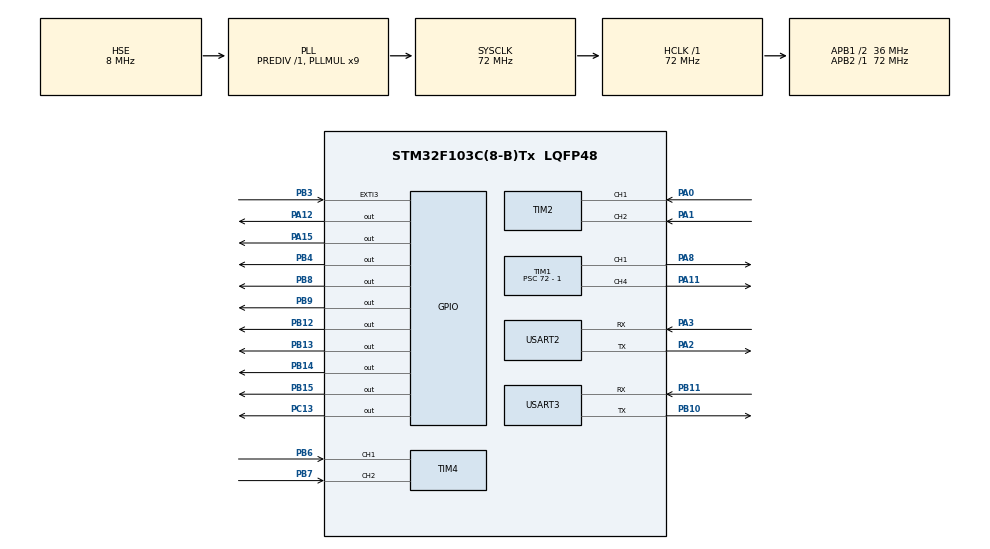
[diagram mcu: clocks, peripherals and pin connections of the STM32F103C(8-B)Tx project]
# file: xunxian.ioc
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Mcu.Family=STM32F1
Mcu.Name=STM32F103C(8-B)Tx
Mcu.Package=LQFP48
NVIC.EXTI3_IRQn=true\:0\:0\:false\:false\:true\:true\:true\:true
NVIC.PriorityGroup=NVIC_PRIORITYGROUP_4
NVIC.TIM3_IRQn=true\:0\:0\:false\:false\:true\:true\:true\:true
NVIC.USART2_IRQn=true\:0\:0\:false\:false\:true\:true\:true\:true
NVIC.USART3_IRQn=true\:0\:0\:false\:false\:true\:true\:true\:true
PA0-WKUP.Signal=S_TIM2_CH1_ETR
PA1.Signal=S_TIM2_CH2
PA11.Signal=S_TIM1_CH4
PA12.Signal=GPIO_Output
PA13.Mode=Serial_Wire
PA13.Signal=SYS_JTMS-SWDIO
PA14.Mode=Serial_Wire
PA14.Signal=SYS_JTCK-SWCLK
PA15.PinState=GPIO_PIN_SET
PA15.Signal=GPIO_Output
PA2.Mode=Asynchronous
PA2.Signal=USART2_TX
PA3.Mode=Asynchronous
PA3.Signal=USART2_RX
PA8.Signal=S_TIM1_CH1
PB10.Mode=Asynchronous
PB10.Signal=USART3_TX
PB11.Mode=Asynchronous
PB11.Signal=USART3_RX
PB12.Signal=GPIO_Output
PB13.Signal=GPIO_Output
PB14.Signal=GPIO_Output
PB15.Signal=GPIO_Output
PB3.GPIO_ModeDefaultEXTI=GPIO_MODE_IT_RISING_FALLING
PB3.Signal=GPXTI3
PB4.Signal=GPIO_Output
PB6.Signal=S_TIM4_CH1
PB7.Signal=S_TIM4_CH2
PB8.Signal=GPIO_Output
PB9.Signal=GPIO_Output
PC13-TAMPER-RTC.Signal=GPIO_Output
PD0-OSC_IN.Mode=HSE-External-Oscillator
PD0-OSC_IN.Signal=RCC_OSC_IN
PD1-OSC_OUT.Mode=HSE-External-Oscillator
PD1-OSC_OUT.Signal=RCC_OSC_OUT
ProjectManager.HeapSize=0x200
ProjectManager.StackSize=0x400
ProjectManager.TargetToolchain=MDK-ARM V5.32
RCC.AHBFreq_Value=72000000
RCC.APB1CLKDivider=RCC_HCLK_DIV2
RCC.APB1Freq_Value=36000000
RCC.APB1TimFreq_Value=72000000
RCC.APB2Freq_Value=72000000
RCC.APB2TimFreq_Value=72000000
RCC.HCLKFreq_Value=72000000
RCC.PLLMUL=RCC_PLL_MUL9
RCC.PLLSourceVirtual=RCC_PLLSOURCE_HSE
RCC.SYSCLKFreq_VALUE=72000000
RCC.SYSCLKSource=RCC_SYSCLKSOURCE_PLLCLK
RCC.USBFreq_Value=72000000
SH.S_TIM1_CH1.0=TIM1_CH1,PWM Generation1 CH1
SH.S_TIM1_CH4.0=TIM1_CH4,PWM Generation4 CH4
SH.S_TIM2_CH1_ETR.0=TIM2_CH1,Encoder_Interface
SH.S_TIM2_CH2.0=TIM2_CH2,Encoder_Interface
SH.S_TIM4_CH1.0=TIM4_CH1,Encoder_Interface
SH.S_TIM4_CH2.0=TIM4_CH2,Encoder_Interface
TIM1.AutoReloadPreload=TIM_AUTORELOAD_PRELOAD_ENABLE
TIM1.Channel-PWM\ Generation1\ CH1=TIM_CHANNEL_1
TIM1.Channel-PWM\ Generation4\ CH4=TIM_CHANNEL_4
TIM1.Period=100 - 1
TIM1.Prescaler=72 - 1
TIM3.AutoReloadPreload=TIM_AUTORELOAD_PRELOAD_ENABLE
TIM3.Period=1000 -1 
TIM3.Prescaler=72- 1
USART2.VirtualMode=VM_ASYNC
USART3.VirtualMode=VM_ASYNC
VP_TIM3_VS_ClockSourceINT.Mode=Internal
board=custom

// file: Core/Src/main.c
/* USER CODE BEGIN Header */
/**
 ******************************************************************************
 * @file           : main.c
 * @brief          : Main program body
 ******************************************************************************
 * @attention
 *
 * Copyright (c) 2026 STMicroelectronics.
 * All rights reserved.
 *
 * This software is licensed under terms that can be found in the LICENSE file
 * in the root directory of this software component.
 * If no LICENSE file comes with this software, it is provided AS-IS.
 *
 ******************************************************************************
 */
/* USER CODE END Header */
#include "main.h"
#include "tim.h"
#include "usart.h"
#include "gpio.h"

/* USER CODE BEGIN Includes */
#include "hfile.h"

#define PID_P 500
#define PID_I 15
#define PID_D 0

#define ANGLE_P 50 // 角度环参数，这些要你自己调
#define ANGLE_I 0   // 角度环很多时候用不到 I，可设为 0
#define ANGLE_D 0

#define Speed_Straight 15 // 目标速度，单位为编码器计数每周期
#define Speed_Diff 10     // 转向时左右轮速度差值
#define Speed_Diff_l 5

#define AV_P 30 // 角度环参数，这些要你自己调
#define AV_I 0   // 角度环很多时候用不到 I，可设为 0
#define AV_D 10

/* USER CODE END Includes */

/* USER CODE BEGIN PV */
PID_t pid_r, pid_l, pid_angle,pid_av;
volatile uint8_t pit_pid_flag = 0; // 【优化1】增加 volatile
int encoder_data_left = 0;
int encoder_data_right = 0;
int pwm_right = 0;
int pwm_left = 0;
uint8_t sensor_data[8];
uint8_t zhuanxiang_flag = 0;
volatile uint32_t delay = 0;         // 【优化1】增加 volatile
volatile uint16_t turn_cooldown = 0; // 【优化3】新增转向冷却倒计时
uint8_t xunxian_state = 0;
uint8_t xunxian_flag = 1;
uint8_t bizhang_is=0;
volatile uint32_t delay_buzz = 0;
int angle = 0;
int target_angle = 0;
uint8_t angle_flag = 0;
uint8_t delay_flag = 1;
uint8_t global_turn_dir = 0;           // 【新增】全局转向锁定：0未决定，1锁定左转，2锁定右转
extern volatile uint32_t tim3_ms_tick; // 【新增】声明 xunxian.c 里的时间戳变量
uint32_t distance = 0;
volatile uint32_t delay_distance = 0;
uint8_t distance_count = 0;
uint8_t bizhang_flag = 0;
volatile uint32_t delay_bizhang = 0;
volatile uint32_t delay_light = 0;
uint8_t distance_flag = 1;
uint8_t sudu_flag = 1;
uint8_t falg_bizhang = 1;
uint8_t falg_buzz = 1;
volatile uint32_t f_ms_tick;
uint8_t falg;
/* USER CODE END PV */

void SystemClock_Config(void);

/* USER CODE BEGIN 0 */
#define TRUN_SPEED 0
void Ctrl_SAT(int v, int a, uint32_t time, uint8_t stop_on_line)
{
  PID_Init(&pid_av, AV_P, AV_I, AV_D);
  pid_av.target_val = a;

  // 清除左右轮PID的积分误差，重新初始化
  PID_Init(&pid_r, PID_P, PID_I, PID_D);
  PID_Init(&pid_l, PID_P, PID_I, PID_D);
  pid_l.target_val = v;
  pid_r.target_val = v;

  get_encoder_count_right(&encoder_data_right);
  get_encoder_count_left(&encoder_data_left);
  uint32_t ms_ = tim3_ms_tick;
  pit_pid_flag = 0; // 同步定时器节拍

  for (;;)
  {
    if (yawReady)
    {
      yawReady = 0;
      angle = currentYaw;
    }

    // 如果启用了寻线停止功能，在死循环中也需要解析串口数据
    if (stop_on_line)
    {
      Parse_Track_Data(Rx_Buffer, sensor_data);
      uint8_t state = xunxian_scan(sensor_data);
      // 当检测到并非全白(丢线)且并非全黑时，说明压到线了，立即跳出
      if (state != 6 && state != 0) // zhuangxiang = 6
      {
        Motor_Stop();
        falg_bizhang = 0;
        return;
      }
    }

    // 必须等待定时器中断标志位，才能保证速度PID结算周期正确
    if (pit_pid_flag)
    {
      pit_pid_flag = 0;
      get_encoder_count_right(&encoder_data_right);
      get_encoder_count_left(&encoder_data_left);

      // 【核心修复】：分离速度环与角度环的耦合，消除二次转向抽搐现象。
      // 计算底盘两侧轮子的“平均重心速度”，代表车辆实际的前进分量
      int avg_speed = (encoder_data_right + encoder_data_left) / 2;

      // 使用 pid_l 作为整个底盘统一的“基准推力”速度环，算出一个统一的基础 PWM
      int pwm_base = PID_Speed(&pid_l, avg_speed);

      int diff = PID_Angle(&pid_av, angle);

      // 如果是原地转向（基础目标速度为0），对角度环产生的差速输出进行限幅，避免转得太猛
      if (v == 0)
      {
        int max_diff = 30; // 你可以在这里调节原地转身的限幅大小，越小转得越慢越柔和
        if (diff > max_diff) diff = max_diff;
        if (diff < -max_diff) diff = -max_diff;
      }

      // 左右轮的瞬时输出绝对保持一致基础（避免了分别测算引发的瞬时受力不均），再叠加用于方向管控的 diff 差值
      pwm_right = pwm_base + diff;
      pwm_left = pwm_base - diff;

      Motor_Right_Run(pwm_right);
      Motor_Left_Run(pwm_left);

      OLED_Printf(0, 8, OLED_6X8, "pwm_R:%d L:%d    ", pwm_right, pwm_left);
      OLED_Printf(0, 16, OLED_6X8, "diff: %d    ", angle);
      OLED_Update();
    }

    if (time > 0 && (tim3_ms_tick - ms_ >= time))
    {
        Motor_Stop();
        falg_bizhang = 0;
        return;
    }
    else
    {
      falg_bizhang = 1;
    }
  }
}
/* USER CODE END 0 */

int main(void)
{

  /* MCU Configuration--------------------------------------------------------*/

  /* Reset of all peripherals, Initializes the Flash interface and the Systick. */
  HAL_Init();

  /* Configure the system clock */
  SystemClock_Config();

  /* Initialize all configured peripherals */
  MX_GPIO_Init();
  MX_TIM1_Init();
  MX_TIM2_Init();
  MX_TIM4_Init();
  MX_TIM3_Init();
  MX_USART2_UART_Init();
  MX_USART3_UART_Init();
  /* USER CODE BEGIN 2 */
  Motor_Init();
  OLED_Init();
  PID_Init(&pid_r, PID_P, PID_I, PID_D);
  PID_Init(&pid_l, PID_P, PID_I, PID_D);
  PID_Init(&pid_angle, ANGLE_P, ANGLE_I, ANGLE_D);
  HAL_TIM_Base_Start_IT(&htim3);
  pid_l.target_val = Speed_Straight;
  pid_r.target_val = Speed_Straight;
  HAL_TIM_Encoder_Start(&htim2, TIM_CHANNEL_ALL);
  HAL_TIM_Encoder_Start(&htim4, TIM_CHANNEL_ALL);
  HAL_UART_Receive_IT(&huart2, &Rx_Byte, 1);
  HAL_UART_Receive_IT(&huart3, &rxByte, 1);
  char start_cmd[] = "$0,0,1#";
  HAL_UART_Transmit(&huart2, (uint8_t *)start_cmd, strlen(start_cmd), 100);

  /* USER CODE END 2 */

  /* Infinite loop */
  /* USER CODE BEGIN WHILE */

  while (1)
  {

    // 1. 最高频执行：解析数据和状态
    Parse_Track_Data(Rx_Buffer, sensor_data);
    xunxian_state = xunxian_scan(sensor_data);

    if (zhuanxiang_flag != 0) // 仅在转弯时调用 Led_Show
    {
      if (delay_light >= 100)
      {
        Led_Show();
        delay_light = 0;
      }
    }
    else
    {
      // 退出转弯时，重置灯光延时，并保证灯光熄灭
      HAL_GPIO_WritePin(GPIOC, GPIO_PIN_13, GPIO_PIN_SET); // 熄灭 LED (PC13 一般高电平熄灭)
      delay_light = 0;
    }

    // 超声波测量周期必须大于 60ms (避免声波重叠及模块死机)
    if (delay_distance > 60)
    {
      HCSR04_Trigger();                // 发射超声波脉冲
      distance = HCSR04_GetDistance(); // 获取上一次测量的结果
      delay_distance = 0;              // 重置计数器
    }

    OLED_Printf(0, 0, OLED_6X8, "R:%d L:%d", encoder_data_right, encoder_data_left);
    OLED_Printf(0, 8, OLED_6X8, "pwm_R:%d L:%d    ", pwm_right, pwm_left);
    OLED_Printf(0, 16, OLED_6X8, "Sen: %d %d %d %d %d %d %d %d", sensor_data[0], sensor_data[1], sensor_data[2], sensor_data[3], sensor_data[4], sensor_data[5], sensor_data[6], sensor_data[7]);
    OLED_Printf(0, 24, OLED_6X8, "Dist: %d cm   ", distance);
    OLED_Printf(0, 32, OLED_6X8, "flag:%d    ", zhuanxiang_flag);
    OLED_Printf(0, 48, OLED_6X8, "state:%d    ", xunxian_state);
    OLED_Printf(0, 40, OLED_6X8, "Yaw: %d deg   ", angle);
    OLED_Update();

    if (yawReady)
    {
      yawReady = 0;
      angle = currentYaw;
    }

    // 注意将 uint32_t 转换为有符号整型检查，因为 HCSR04 可能会返回 -1 或 -2
    int32_t current_dist = (int32_t)distance;

    if (current_dist >= 0 && current_dist < 30)
    {
      if (distance_count < 200) distance_count++; // 增加上限防止 uint8_t 溢出

      if (distance_count >= 10)
      {
        if (bizhang_flag != 1) // 确保已经处于避障停车状态时，不再反复重置计时器
        {
          Motor_Stop();
          // 停车：速度目标清零，防止最下面的 PID 计算重新把车跑起来
          xunxian_flag = 0;
          bizhang_flag = 1;  // 首先进入阶段1：等待 15 秒
          distance_flag = 0; // 禁用距离检测新触发
          // 记录遇到障碍物【停车瞬间】的原始角度作为基准
          pid_angle.target_val = angle;

          // 重置蜂鸣器和避障计时以便响5秒
          delay_buzz = 0;
          delay_bizhang = 0;
        }
      }
    }
    else
    {
      distance_count = 0;
    }

    if (bizhang_flag == 1)
    {
      // 蜂鸣器非阻塞响5秒
      if (delay_buzz < 5000)
      {
				 falg = 1;
        HAL_GPIO_WritePin(GPIOA, GPIO_PIN_12, GPIO_PIN_RESET); // 蜂鸣器响 (假设低电平有效)15
      }
      else
      {
				falg = 2;
        HAL_GPIO_WritePin(GPIOA, GPIO_PIN_12, GPIO_PIN_SET);   // 蜂鸣器停止
      }

      if(delay_bizhang >= 15000)
      {
        bizhang_flag = 2;
        distance_count = 0;
        int f_a = angle;

        // 根据经过直角的次数（angle_flag）和顺时针/逆时针方向，来计算当前赛道的理论绝对平行角度
        int parallel_angle = 0;
        if (global_turn_dir == 2) // 锁定为右转赛道
        {
            switch(angle_flag) {
                case 0: parallel_angle = 0; break;
                case 1: parallel_angle = -90; break;
                case 2: parallel_angle = -180; break;
                case 3: parallel_angle = 90; break;
                default: parallel_angle = f_a; break;
            }

            // 右转赛道的避障动作：向左绕开
            // 1. 原地右转出弯角度（向右绕开）
            Ctrl_SAT(0, f_a - 90, 1500, 0);
            // 2. 调用速度环走直线（保持转出的角度，耗时2秒）
            Ctrl_SAT(5, f_a - 90, 2000, 0);
            // 3. 原地旋转回到平行于下个赛段黑线的绝对角度
            Ctrl_SAT(0, parallel_angle, 1500, 0);
            // 4. 直行直到传感器碰到黑线
            Ctrl_SAT(5, parallel_angle, 0, 1);
            // 新增：寻到黑线后往前开0.5秒
            Ctrl_SAT(5, parallel_angle, 700, 0);
            // 5. 碰到黑线后，调用角度环原地右转90度，正对新的寻线方向
            Ctrl_SAT(0, parallel_angle - 90, 1500, 0);

            // 【同步更新】：强制跳过了一个右直角
            global_turn_dir = 2; // 确保锁定右转
            angle_flag++;
        }
        else // global_turn_dir == 1 或 0 (默认左转赛道)
        {
            switch(angle_flag) {
                case 0: parallel_angle = 0; break;
                case 1: parallel_angle = 90; break;
                case 2: parallel_angle = -180; break;
                case 3: parallel_angle = -90; break;
                default: parallel_angle = f_a; break;
            }

            // 左转赛道的避障动作：向右绕开
            // 1. 原地右转出弯角度（基于当前实际车头 f_a 转 90 度以脱开障碍物）
            Ctrl_SAT(0, f_a - 90, 1500, 0);
            // 2. 调用速度环走直线（速度5，保持转出的角度，耗时2秒）
            Ctrl_SAT(5, f_a - 90, 2000, 0);
            // 3. 原地旋转回到平行于黑线的绝对角度
            Ctrl_SAT(0, parallel_angle, 1500, 0);
            // 4. 不要预备切线，直接保持理论平行的方向直行，直到传感器碰到黑线
            Ctrl_SAT(5, parallel_angle, 0, 1);
            // 新增：寻到黑线后往前开0.5秒
            Ctrl_SAT(5, parallel_angle, 500, 0);
            // 5. 碰到黑线后，调用角度环原地左转90度，正对新的寻线方向，耗时1.5秒
            Ctrl_SAT(0, parallel_angle + 90, 1500, 0);

            // 【同步更新】：强制跳过了一个左直角
            global_turn_dir = 1; // 确保锁定左转
            angle_flag++;
        }

        falg_bizhang = 1;
        xunxian_flag = 1;
        delay_bizhang = 0;
      }
      else
      {
        if (current_dist > 50)
        {
          delay_bizhang=0;
          bizhang_flag = 0;
          xunxian_flag = 1;
          distance_count = 0;
        }
      }
    }
    // 2. 寻线状态机
    if (xunxian_flag)
    {
      switch (xunxian_state)
      {
      case little_r: // 微微偏右
      {
        pid_l.target_val = Speed_Straight + Speed_Diff_l;
        pid_r.target_val = Speed_Straight - Speed_Diff_l;
        break;
      }
      case little_l: // 微微偏左
      {
        pid_l.target_val = Speed_Straight - Speed_Diff_l;
        pid_r.target_val = Speed_Straight + Speed_Diff_l;
        break;
      }
      case straight: // 直行
      {
        pid_l.target_val = Speed_Straight;
        pid_r.target_val = Speed_Straight;
        break;
      }
      case left: // 左转
      {
        // 【新增策略】如果全局已经锁定为右转，说明这是右转过冲导致的假信号，降级为普通微调
        if (global_turn_dir == 2)
        {
          pid_l.target_val = Speed_Straight - Speed_Diff_l;
          pid_r.target_val = Speed_Straight + Speed_Diff_l;
          break;
        }

        // 【优化3】冷却期内拦截
        if (turn_cooldown > 0)
        {
          pid_l.target_val = Speed_Straight - Speed_Diff_l;
          pid_r.target_val = Speed_Straight + Speed_Diff_l;
          break;
        }

        // 【新增策略】第一次遇到真正的左转，全局锁定
        if (global_turn_dir == 0)
        {
          global_turn_dir = 1;
        }

        delay = 0;
        zhuanxiang_flag = 1;
        angle_flag++;
        switch (angle_flag)
        {
        case 1:
          target_angle = 55;
          break;
        case 2:
          target_angle = 150;
          break;
        case 3:
          target_angle = -110;
          break;
        case 4:
          target_angle = -70;
          break;
        default:
          break;
        }
        break;
      }
      case right: // 右转
      {
        // 【新增策略】如果全局已经锁定为左转，说明这是左转过冲导致的假信号，降级为普通微调
        if (global_turn_dir == 1)
        {
          pid_l.target_val = Speed_Straight + Speed_Diff_l;
          pid_r.target_val = Speed_Straight - Speed_Diff_l;
          break;
        }

        // 【优化3】冷却期内拦截
        if (turn_cooldown > 0)
        {
          pid_l.target_val = Speed_Straight + Speed_Diff_l;
          pid_r.target_val = Speed_Straight - Speed_Diff_l;
          break;
        }

        // 【新增策略】第一次遇到真正的右转，全局锁定
        if (global_turn_dir == 0)
        {
          global_turn_dir = 2;
        }

        delay = 0;
        zhuanxiang_flag = 2;
        angle_flag++;
        switch (angle_flag)
        {
        case 1:
          target_angle = -55;
          break;
        case 2:
          target_angle = -150;
          break;
        case 3:
          target_angle = 110;
          break;
        case 4:
          target_angle = 150;
          break;
        default:
          break;
        }
        break;
      }
      default:
        break;
      }
    }

    // 3. 转向状态机
    if (zhuanxiang_flag == 1) // 左转
    {
      if (delay <= 2000)
      {
        Motor_Stop();
        xunxian_flag = 0;
        delay_flag = 0;
      }
      else
      {
        delay_flag = 1;

        // 计算当前角度到目标角度的“剩余航向角”
        // 这个公式可以自动处理 180 到 -180 的跳变问题
        int angle_error = target_angle - angle;
        if (angle_error > 180)
          angle_error -= 360;
        if (angle_error < -180)
          angle_error += 360;

        // 对于左转，angle_error 应该是正数（目标在当前的“左前方”）
        // 当这个差值减小到 0 甚至变负时，说明转过头了
        if (angle_error > 0) // 只要还没转到目标位置
        {
          pid_l.target_val = -10;
          pid_r.target_val = 20;
        }
        else
        {
          xunxian_flag = 1;
          zhuanxiang_flag = 0;
          turn_cooldown = 500;

          if (angle_flag >= 4)
          {
            // 转完第4个弯了，强行往前开0.5秒然后永久停车
            Ctrl_SAT(5, target_angle, 500, 0);
            Motor_Stop();
            while(1)
            {
               // 永久停止
               Motor_Stop();
            }
          }
        }
      }
    }
    else if (zhuanxiang_flag == 2) // 右转
    {
      if (delay <= 2000)
      {
        Motor_Stop();
        xunxian_flag = 0;
        delay_flag = 0;
      }
      else
      {
        delay_flag = 1;

        // 计算当前角度到目标角度的“剩余航向角”
        // 这个公式可以自动处理 180 到 -180 的跳变问题
        int angle_error = target_angle - angle;
        if (angle_error > 180)
          angle_error -= 360;
        if (angle_error < -180)
          angle_error += 360;

        // 对于右转，angle_error 应该是负数（目标在当前的“右前方”）
        // 当这个差值增加到 0 甚至变正时，说明转过头了
        if (angle_error < 0) // 只要还没转到目标位置
        {
          pid_l.target_val = 20;
          pid_r.target_val = -10;
        }
        else
        {
          xunxian_flag = 1;
          zhuanxiang_flag = 0;
          turn_cooldown = 500; // 【优化3】结束转弯，赋予冷却期

          if (angle_flag >= 4)
          {
            // 转完第4个弯了，强行往前开0.5秒然后永久停车
            Ctrl_SAT(5, target_angle, 500, 0);
            Motor_Stop();
            while(1)
            {
               // 永久停止
               Motor_Stop();
            }
          }
        }
      }
    }

    // 4. PID 运算与低频 OLED 刷新
    if (pit_pid_flag && delay_flag && falg_bizhang)
    {
      pit_pid_flag = 0;

      // 如果处于避障阶段 1 (死等15秒)，或者纯粹为了全停，直接封杀电机运转并跳过 PID
      if (bizhang_flag == 1)
      {
        Motor_Stop();
        pid_l.output_val = 0;
        pid_r.output_val = 0;
        pwm_left = 0;
        pwm_right = 0;
      }
      else
      {
        get_encoder_count_right(&encoder_data_right);
        get_encoder_count_left(&encoder_data_left);
        pwm_right = PID_Speed(&pid_r, encoder_data_right);
        pwm_left = PID_Speed(&pid_l, encoder_data_left);

        Motor_Right_Run(pwm_right);
        Motor_Left_Run(pwm_left);
      }
    }
    /* USER CODE END WHILE */

  }
}

void SystemClock_Config(void)
{
  RCC_OscInitTypeDef RCC_OscInitStruct = {0};
  RCC_ClkInitTypeDef RCC_ClkInitStruct = {0};

  /** Initializes the RCC Oscillators according to the specified parameters
  * in the RCC_OscInitTypeDef structure.
  */
  RCC_OscInitStruct.OscillatorType = RCC_OSCILLATORTYPE_HSE;
  RCC_OscInitStruct.HSEState = RCC_HSE_ON;
  RCC_OscInitStruct.HSEPredivValue = RCC_HSE_PREDIV_DIV1;
  RCC_OscInitStruct.HSIState = RCC_HSI_ON;
  RCC_OscInitStruct.PLL.PLLState = RCC_PLL_ON;
  RCC_OscInitStruct.PLL.PLLSource = RCC_PLLSOURCE_HSE;
  RCC_OscInitStruct.PLL.PLLMUL = RCC_PLL_MUL9;
  if (HAL_RCC_OscConfig(&RCC_OscInitStruct) != HAL_OK)
  {
    Error_Handler();
  }

  /** Initializes the CPU, AHB and APB buses clocks
  */
  RCC_ClkInitStruct.ClockType = RCC_CLOCKTYPE_HCLK|RCC_CLOCKTYPE_SYSCLK
                              |RCC_CLOCKTYPE_PCLK1|RCC_CLOCKTYPE_PCLK2;
  RCC_ClkInitStruct.SYSCLKSource = RCC_SYSCLKSOURCE_PLLCLK;
  RCC_ClkInitStruct.AHBCLKDivider = RCC_SYSCLK_DIV1;
  RCC_ClkInitStruct.APB1CLKDivider = RCC_HCLK_DIV2;
  RCC_ClkInitStruct.APB2CLKDivider = RCC_HCLK_DIV1;

  if (HAL_RCC_ClockConfig(&RCC_ClkInitStruct, FLASH_LATENCY_2) != HAL_OK)
  {
    Error_Handler();
  }
}

/* USER CODE BEGIN 4 */
void HAL_TIM_PeriodElapsedCallback(TIM_HandleTypeDef *htim)
{
  if (htim->Instance == TIM3)
  {
    pit_pid_flag = 1;
    delay += 1;
    tim3_ms_tick++;
    f_ms_tick++;
    delay_distance++;
    delay_bizhang++;
    delay_light++;
		delay_buzz++;
    // 【优化3】在中断中递减冷却时间
    if (turn_cooldown > 0)
    {
      turn_cooldown--;
    }
  }
}
/* USER CODE END 4 */

void Error_Handler(void)
{
  __disable_irq();
  while (1)
  {
  }
}
